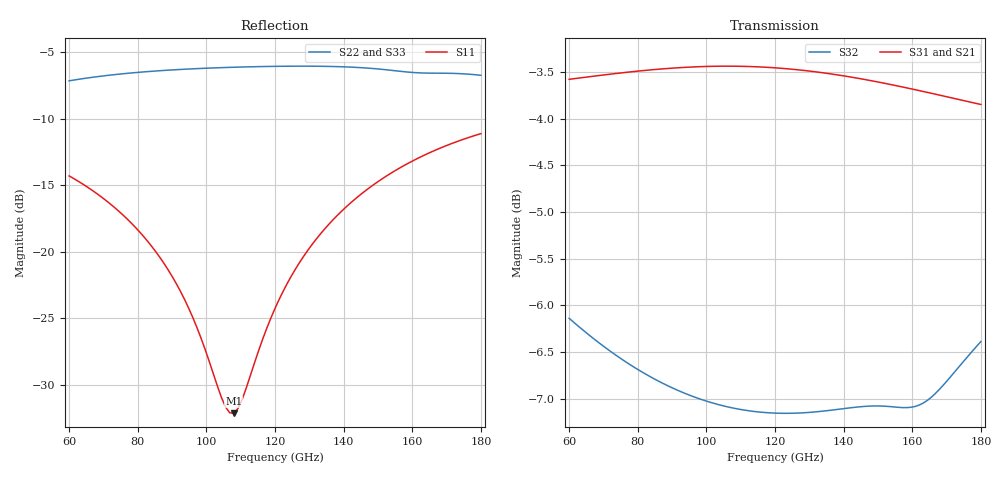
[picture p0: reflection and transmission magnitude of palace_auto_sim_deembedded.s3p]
! Created with skrf 1.11.0 (http://scikit-rf.org).
# GHz S DB R 50.0
!freq dBS11 angS11 dBS12 angS12 dBS13 angS13
! dBS21 angS21 dBS22 angS22 dBS23 angS23
! dBS31 angS31 dBS32 angS32 dBS33 angS33
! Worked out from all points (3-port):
!   101 points, 60 GHz to 180 GHz, reference 50 ohm
!   strongest paths, dB at 60 GHz, 90 GHz, 120 GHz, 150 GHz, 180 GHz:
!     S31: -3.6, -3.5, -3.5, -3.6, -3.8
!     S21: -3.6, -3.5, -3.5, -3.6, -3.8
!     S32: -6.1, -6.9, -7.2, -7.1, -6.4
!   lowest |S11| = -32.1 dB at 108 GHz (marker M1), VSWR 1.05, Z = 52.5 + j0.435 ohm
!   |S11| at or under -10 dB: start of sweep to end of sweep
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60  -14.28 132.6  -3.58 -43.8  -3.58 -43.8
    -3.58 -43.8  -7.14 48.1  -6.14 -100.3
    -3.58 -43.8  -6.14 -100.3  -7.14 48.1
74.4  -16.92 119.5  -3.52 -54.7  -3.51 -54.7
      -3.52 -54.7  -6.64 33.0  -6.55 -121.0
      -3.51 -54.7  -6.55 -121.0  -6.64 33.0
86.4  -20.39 105.7  -3.47 -63.9  -3.47 -64.0
      -3.47 -63.9  -6.38 22.1  -6.82 -137.8
      -3.47 -64.0  -6.82 -137.8  -6.38 22.1
96  -24.90 87.9  -3.45 -71.4  -3.45 -71.4
    -3.45 -71.4  -6.23 14.1  -6.97 -151.1
    -3.45 -71.4  -6.97 -151.1  -6.24 14.1
105.6  -31.66 35.7  -3.44 -78.9  -3.44 -79.0
       -3.44 -78.9  -6.13 6.6  -7.08 -164.2
       -3.44 -79.0  -7.08 -164.2  -6.14 6.6
108  -32.13 9.6  -3.44 -80.8  -3.44 -80.8
     -3.44 -80.8  -6.11 4.8  -7.10 -167.5
     -3.44 -80.8  -7.10 -167.5  -6.12 4.8
120  -24.25 -60.7  -3.46 -90.3  -3.46 -90.3
     -3.46 -90.3  -6.05 -4.3  -7.15 176.1
     -3.46 -90.3  -7.15 176.1  -6.05 -4.3
129.6  -19.86 -77.4  -3.49 -97.8  -3.49 -97.8
       -3.49 -97.8  -6.04 -11.6  -7.15 162.9
       -3.49 -97.8  -7.15 162.9  -6.03 -11.6
142.8  -16.14 -92.1  -3.56 -108.1  -3.56 -108.1
       -3.56 -108.1  -6.11 -22.1  -7.09 144.4
       -3.56 -108.1  -7.09 144.4  -6.11 -22.1
180  -11.11 -122.5  -3.85 -136.2  -3.85 -136.2
     -3.85 -136.2  -6.72 -54.8  -6.39 94.0
     -3.85 -136.2  -6.39 94.0  -6.71 -54.8
